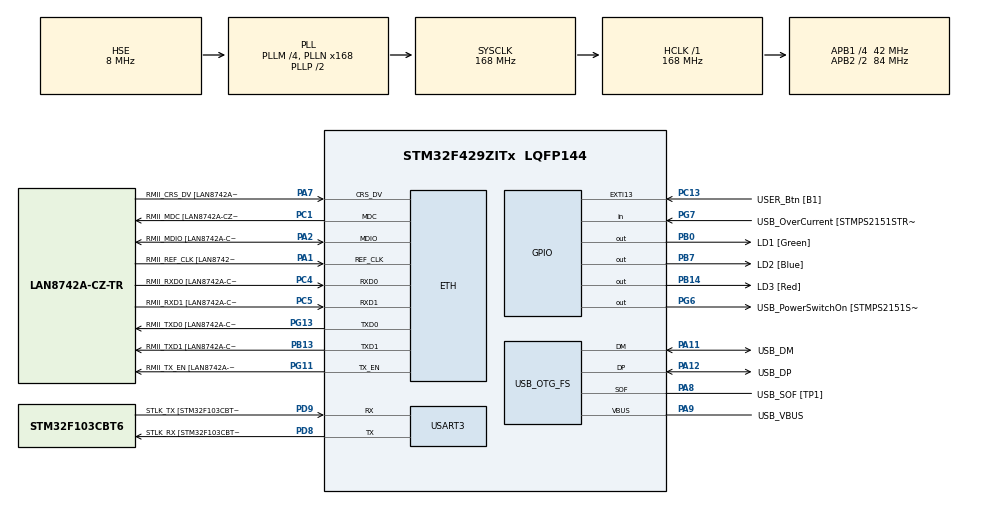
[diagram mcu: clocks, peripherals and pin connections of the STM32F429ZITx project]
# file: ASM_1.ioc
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ETH.MediaInterface=ETH_MEDIA_INTERFACE_RMII
ETH.PHY_Name=LAN8742A_PHY_ADDRESS
ETH.PHY_Value=0
ETH.PhyAddress=0
Mcu.Family=STM32F4
Mcu.Name=STM32F429ZITx
Mcu.Package=LQFP144
NVIC.PriorityGroup=NVIC_PRIORITYGROUP_4
PA1.GPIO_Label=RMII_REF_CLK [LAN8742A-CZ-TR_REFCLK0]
PA1.Mode=RMII
PA1.Signal=ETH_REF_CLK
PA10.GPIO_Label=USB_ID
PA10.Signal=USB_OTG_FS_ID
PA11.GPIO_Label=USB_DM
PA11.Mode=Device_Only
PA11.Signal=USB_OTG_FS_DM
PA12.GPIO_Label=USB_DP
PA12.Mode=Device_Only
PA12.Signal=USB_OTG_FS_DP
PA13.GPIO_Label=TMS
PA13.Mode=Serial_Wire
PA13.Signal=SYS_JTMS-SWDIO
PA14.GPIO_Label=TCK
PA14.Mode=Serial_Wire
PA14.Signal=SYS_JTCK-SWCLK
PA2.GPIO_Label=RMII_MDIO [LAN8742A-CZ-TR_MDIO]
PA2.Mode=RMII
PA2.Signal=ETH_MDIO
PA7.GPIO_Label=RMII_CRS_DV [LAN8742A-CZ-TR_CRS_DV]
PA7.Mode=RMII
PA7.Signal=ETH_CRS_DV
PA8.GPIO_Label=USB_SOF [TP1]
PA8.Mode=Activate_SOF_FS
PA8.Signal=USB_OTG_FS_SOF
PA9.GPIO_Label=USB_VBUS
PA9.Mode=Activate_VBUS
PA9.Signal=USB_OTG_FS_VBUS
PB0.GPIO_Label=LD1 [Green]
PB0.Signal=GPIO_Output
PB13.GPIO_Label=RMII_TXD1 [LAN8742A-CZ-TR_TXD1]
PB13.Mode=RMII
PB13.Signal=ETH_TXD1
PB14.GPIO_Label=LD3 [Red]
PB14.Signal=GPIO_Output
PB7.GPIO_Label=LD2 [Blue]
PB7.Signal=GPIO_Output
PC1.GPIO_Label=RMII_MDC [LAN8742A-CZ-TR_MDC]
PC1.Mode=RMII
PC1.Signal=ETH_MDC
PC13.GPIO_Label=USER_Btn [B1]
PC13.Signal=GPXTI13
PC14/OSC32_IN.Mode=LSE-External-Oscillator
PC14/OSC32_IN.Signal=RCC_OSC32_IN
PC15/OSC32_OUT.Mode=LSE-External-Oscillator
PC15/OSC32_OUT.Signal=RCC_OSC32_OUT
PC4.GPIO_Label=RMII_RXD0 [LAN8742A-CZ-TR_RXD0]
PC4.Mode=RMII
PC4.Signal=ETH_RXD0
PC5.GPIO_Label=RMII_RXD1 [LAN8742A-CZ-TR_RXD1]
PC5.Mode=RMII
PC5.Signal=ETH_RXD1
PD8.GPIO_Label=STLK_RX [STM32F103CBT6_PA3]
PD8.Mode=Asynchronous
PD8.Signal=USART3_TX
PD9.GPIO_Label=STLK_TX [STM32F103CBT6_PA2]
PD9.Mode=Asynchronous
PD9.Signal=USART3_RX
PG11.GPIO_Label=RMII_TX_EN [LAN8742A-CZ-TR_TXEN]
PG11.Mode=RMII
PG11.Signal=ETH_TX_EN
PG13.GPIO_Label=RMII_TXD0 [LAN8742A-CZ-TR_TXD0]
PG13.Mode=RMII
PG13.Signal=ETH_TXD0
PG6.GPIO_Label=USB_PowerSwitchOn [STMPS2151STR_EN]
PG6.Signal=GPIO_Output
PG7.GPIO_Label=USB_OverCurrent [STMPS2151STR_FAULT]
PG7.Signal=GPIO_Input
PH0/OSC_IN.GPIO_Label=MCO [STM32F103CBT6_PA8]
PH0/OSC_IN.Mode=HSE-External-Clock-Source
PH0/OSC_IN.Signal=RCC_OSC_IN
PH1/OSC_OUT.Mode=HSE-External-Clock-Source
PH1/OSC_OUT.Signal=RCC_OSC_OUT
ProjectManager.HeapSize=0x200
ProjectManager.StackSize=0x400
ProjectManager.TargetToolchain=STM32CubeIDE
RCC.48MHZClocksFreq_Value=48000000
RCC.AHBFreq_Value=168000000
RCC.APB1CLKDivider=RCC_HCLK_DIV4
RCC.APB1Freq_Value=42000000
RCC.APB1TimFreq_Value=84000000
RCC.APB2CLKDivider=RCC_HCLK_DIV2
RCC.APB2Freq_Value=84000000
RCC.APB2TimCLKDivider=2
RCC.APB2TimFreq_Value=168000000
RCC.CortexFreq_Value=168000000
RCC.HCLKFreq_Value=168000000
RCC.HSE_VALUE=8000000
RCC.HSI_VALUE=16000000
RCC.PLLM=4
RCC.PLLMUL=RCC_PLL_MUL9
RCC.PLLN=168
RCC.PLLQ=7
RCC.PRESCALERUSB=RCC_USBCLKSOURCE_PLL_DIV1_5
RCC.SYSCLKFreq_VALUE=168000000
RCC.SYSCLKSource=RCC_SYSCLKSOURCE_PLLCLK
RCC.SYSCLKSourceVirtual=RCC_SYSCLKSOURCE_PLLCLK
RCC.USBFreq_Value=48000000
RCC.VCOOutputFreq_Value=336000000
USART3.VirtualMode=VM_ASYNC
USB_OTG_FS.VirtualMode=Device_Only
board=NUCLEO-F429ZI

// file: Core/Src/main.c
/* USER CODE BEGIN Header */
/**
  ******************************************************************************
  * @file           : main.c
  * @brief          : Main program body
  ******************************************************************************
  * @attention
  *
  * Copyright (c) 2022 STMicroelectronics.
  * All rights reserved.
  *
  * This software is licensed under terms that can be found in the LICENSE file
  * in the root directory of this software component.
  * If no LICENSE file comes with this software, it is provided AS-IS.
  *
  ******************************************************************************
  */
/* USER CODE END Header */
#include "main.h"
#include "string.h"

/* USER CODE BEGIN Includes */
#include "asm_func.h"
/* USER CODE END Includes */

/* USER CODE BEGIN PD */
#define tam 4
/* USER CODE END PD */

 ETH_HandleTypeDef heth;

UART_HandleTypeDef huart3;

PCD_HandleTypeDef hpcd_USB_OTG_FS;

void SystemClock_Config(void);
static void MX_GPIO_Init(void);
static void MX_USART3_UART_Init(void);
static void MX_USB_OTG_FS_PCD_Init(void);
/* USER CODE BEGIN PFP */
void vPrintString( const char *pcString );
/* USER CODE END PFP */

/* USER CODE BEGIN 0 */
static void PrivilegiosSVC (void)
{
    // Obtiene valor del registro de 32 bits del procesador llamado "control".
    // El registro guarda los siguientes estados:
    // bit 2: Uso de FPU en el contexto actual. Usado=1, no usado=0.
    // bit 1: Mapeo del stack pointer(sp). MSP=0, PSP=1.
    // bit 0: Modo de ejecucion en Thread. Privilegiado=0, No privilegiado=1.
    //        Recordar que este valor solo se usa en modo Thread. Las
    //        interrupciones siempre se ejecutan en modo Handler con total
    //        privilegio.
    uint32_t x = __get_CONTROL ();

    // Actividad de debug: Ver registro "control" y valor de variable "x".
    //__BKPT (0);

    x |= 1;
    // bit 0 a modo No privilegiado.
    __set_CONTROL (x);

    // En este punto se estaria ejecutando en modo No privilegiado.
    // Lectura del registro "control" para confirmar.
    x = __get_CONTROL ();

    // Actividad de debug: Ver registro "control" y valor de variable "x".
    //__BKPT (0);

    x &= ~1u;
    // Se intenta volver a modo Privilegiado (bit 0, valor 0).
    __set_CONTROL (x);

    // Confirma que esta operacion es ignorada por estar ejecutandose en modo
    // Thread no privilegiado.
    x = __get_CONTROL ();

    // Actividad de debug: Ver registro "control" y valor de variable "x".
    //__BKPT (0);

    // En este punto, ejecutando en modo Thread no privilegiado, la unica forma
    // de volver a modo privilegiado o de realizar cualquier cambio que requiera
    // modo privilegiado, es pidiendo ese servicio a un hipotetico sistema
    // opertivo de tiempo real.
    // Para esto se invoca por software a la interrupcion SVC (Supervisor Call)
    // utilizando la instruccion "svc".
    // No hay intrinsics para realizar esta tarea. Para utilizar la instruccion
    // es necesario implementar una funcion en assembler. Ver el archivo
    // asm_func.S.
    asm_svc ();

    // El sistema operativo (el handler de SVC) deberia haber devuelto el modo
    // de ejecucion de Thread a privilegiado (bit 0 en valor 0).
    x = __get_CONTROL ();

    // Fin del ejemplo de SVC
}

void vPrintString( const char *pcString )
{
	/* Print the string, using a critical section as a crude method of mutual
	exclusion. */
	HAL_UART_Transmit(&huart3, (uint8_t *)pcString, (uint16_t) strlen((char *)pcString), 10);

}

/* USER CODE END 0 */

int main(void)
{

  /* MCU Configuration--------------------------------------------------------*/

  /* Reset of all peripherals, Initializes the Flash interface and the Systick. */
  HAL_Init();

  /* Configure the system clock */
  SystemClock_Config();

  /* Initialize all configured peripherals */
  MX_GPIO_Init();
  MX_USART3_UART_Init();
  MX_USB_OTG_FS_PCD_Init();
  /* USER CODE BEGIN 2 */
  PrivilegiosSVC ();

//  DWT->CTRL |= 1 << DWT_CTRL_CYCCNTENA_Pos;
//  DWT->CYCCNT=0;

  int32_t vectorIn[4]={0,12,-22,100};
  int32_t *resultado;
  int32_t valor;

  resultado=asm_max (&vectorIn,tam);
  valor=*resultado;

  /* USER CODE END 2 */

  /* Infinite loop */
  while (1)
  {

  }
}

void SystemClock_Config(void)
{
  RCC_OscInitTypeDef RCC_OscInitStruct = {0};
  RCC_ClkInitTypeDef RCC_ClkInitStruct = {0};

  /** Configure the main internal regulator output voltage
  */
  __HAL_RCC_PWR_CLK_ENABLE();
  __HAL_PWR_VOLTAGESCALING_CONFIG(PWR_REGULATOR_VOLTAGE_SCALE1);

  /** Initializes the RCC Oscillators according to the specified parameters
  * in the RCC_OscInitTypeDef structure.
  */
  RCC_OscInitStruct.OscillatorType = RCC_OSCILLATORTYPE_HSE;
  RCC_OscInitStruct.HSEState = RCC_HSE_BYPASS;
  RCC_OscInitStruct.PLL.PLLState = RCC_PLL_ON;
  RCC_OscInitStruct.PLL.PLLSource = RCC_PLLSOURCE_HSE;
  RCC_OscInitStruct.PLL.PLLM = 4;
  RCC_OscInitStruct.PLL.PLLN = 168;
  RCC_OscInitStruct.PLL.PLLP = RCC_PLLP_DIV2;
  RCC_OscInitStruct.PLL.PLLQ = 7;
  if (HAL_RCC_OscConfig(&RCC_OscInitStruct) != HAL_OK)
  {
    Error_Handler();
  }

  /** Initializes the CPU, AHB and APB buses clocks
  */
  RCC_ClkInitStruct.ClockType = RCC_CLOCKTYPE_HCLK|RCC_CLOCKTYPE_SYSCLK
                              |RCC_CLOCKTYPE_PCLK1|RCC_CLOCKTYPE_PCLK2;
  RCC_ClkInitStruct.SYSCLKSource = RCC_SYSCLKSOURCE_PLLCLK;
  RCC_ClkInitStruct.AHBCLKDivider = RCC_SYSCLK_DIV1;
  RCC_ClkInitStruct.APB1CLKDivider = RCC_HCLK_DIV4;
  RCC_ClkInitStruct.APB2CLKDivider = RCC_HCLK_DIV2;

  if (HAL_RCC_ClockConfig(&RCC_ClkInitStruct, FLASH_LATENCY_5) != HAL_OK)
  {
    Error_Handler();
  }
}

static void MX_USART3_UART_Init(void)
{

  huart3.Instance = USART3;
  huart3.Init.BaudRate = 115200;
  huart3.Init.WordLength = UART_WORDLENGTH_8B;
  huart3.Init.StopBits = UART_STOPBITS_1;
  huart3.Init.Parity = UART_PARITY_NONE;
  huart3.Init.Mode = UART_MODE_TX_RX;
  huart3.Init.HwFlowCtl = UART_HWCONTROL_NONE;
  huart3.Init.OverSampling = UART_OVERSAMPLING_16;
  if (HAL_UART_Init(&huart3) != HAL_OK)
  {
    Error_Handler();
  }

}

static void MX_USB_OTG_FS_PCD_Init(void)
{

  hpcd_USB_OTG_FS.Instance = USB_OTG_FS;
  hpcd_USB_OTG_FS.Init.dev_endpoints = 4;
  hpcd_USB_OTG_FS.Init.speed = PCD_SPEED_FULL;
  hpcd_USB_OTG_FS.Init.dma_enable = DISABLE;
  hpcd_USB_OTG_FS.Init.phy_itface = PCD_PHY_EMBEDDED;
  hpcd_USB_OTG_FS.Init.Sof_enable = ENABLE;
  hpcd_USB_OTG_FS.Init.low_power_enable = DISABLE;
  hpcd_USB_OTG_FS.Init.lpm_enable = DISABLE;
  hpcd_USB_OTG_FS.Init.vbus_sensing_enable = ENABLE;
  hpcd_USB_OTG_FS.Init.use_dedicated_ep1 = DISABLE;
  if (HAL_PCD_Init(&hpcd_USB_OTG_FS) != HAL_OK)
  {
    Error_Handler();
  }

}

static void MX_GPIO_Init(void)
{
  GPIO_InitTypeDef GPIO_InitStruct = {0};

  /* GPIO Ports Clock Enable */
  __HAL_RCC_GPIOC_CLK_ENABLE();
  __HAL_RCC_GPIOH_CLK_ENABLE();
  __HAL_RCC_GPIOA_CLK_ENABLE();
  __HAL_RCC_GPIOB_CLK_ENABLE();
  __HAL_RCC_GPIOD_CLK_ENABLE();
  __HAL_RCC_GPIOG_CLK_ENABLE();

  /*Configure GPIO pin Output Level */
  HAL_GPIO_WritePin(GPIOB, LD1_Pin|LD3_Pin|LD2_Pin, GPIO_PIN_RESET);

  /*Configure GPIO pin Output Level */
  HAL_GPIO_WritePin(USB_PowerSwitchOn_GPIO_Port, USB_PowerSwitchOn_Pin, GPIO_PIN_RESET);

  /*Configure GPIO pin : USER_Btn_Pin */
  GPIO_InitStruct.Pin = USER_Btn_Pin;
  GPIO_InitStruct.Mode = GPIO_MODE_IT_RISING;
  GPIO_InitStruct.Pull = GPIO_NOPULL;
  HAL_GPIO_Init(USER_Btn_GPIO_Port, &GPIO_InitStruct);

  /*Configure GPIO pins : LD1_Pin LD3_Pin LD2_Pin */
  GPIO_InitStruct.Pin = LD1_Pin|LD3_Pin|LD2_Pin;
  GPIO_InitStruct.Mode = GPIO_MODE_OUTPUT_PP;
  GPIO_InitStruct.Pull = GPIO_NOPULL;
  GPIO_InitStruct.Speed = GPIO_SPEED_FREQ_LOW;
  HAL_GPIO_Init(GPIOB, &GPIO_InitStruct);

  /*Configure GPIO pin : USB_PowerSwitchOn_Pin */
  GPIO_InitStruct.Pin = USB_PowerSwitchOn_Pin;
  GPIO_InitStruct.Mode = GPIO_MODE_OUTPUT_PP;
  GPIO_InitStruct.Pull = GPIO_NOPULL;
  GPIO_InitStruct.Speed = GPIO_SPEED_FREQ_LOW;
  HAL_GPIO_Init(USB_PowerSwitchOn_GPIO_Port, &GPIO_InitStruct);

  /*Configure GPIO pin : USB_OverCurrent_Pin */
  GPIO_InitStruct.Pin = USB_OverCurrent_Pin;
  GPIO_InitStruct.Mode = GPIO_MODE_INPUT;
  GPIO_InitStruct.Pull = GPIO_NOPULL;
  HAL_GPIO_Init(USB_OverCurrent_GPIO_Port, &GPIO_InitStruct);

}

void Error_Handler(void)
{
  __disable_irq();
  while (1)
  {
  }
}
